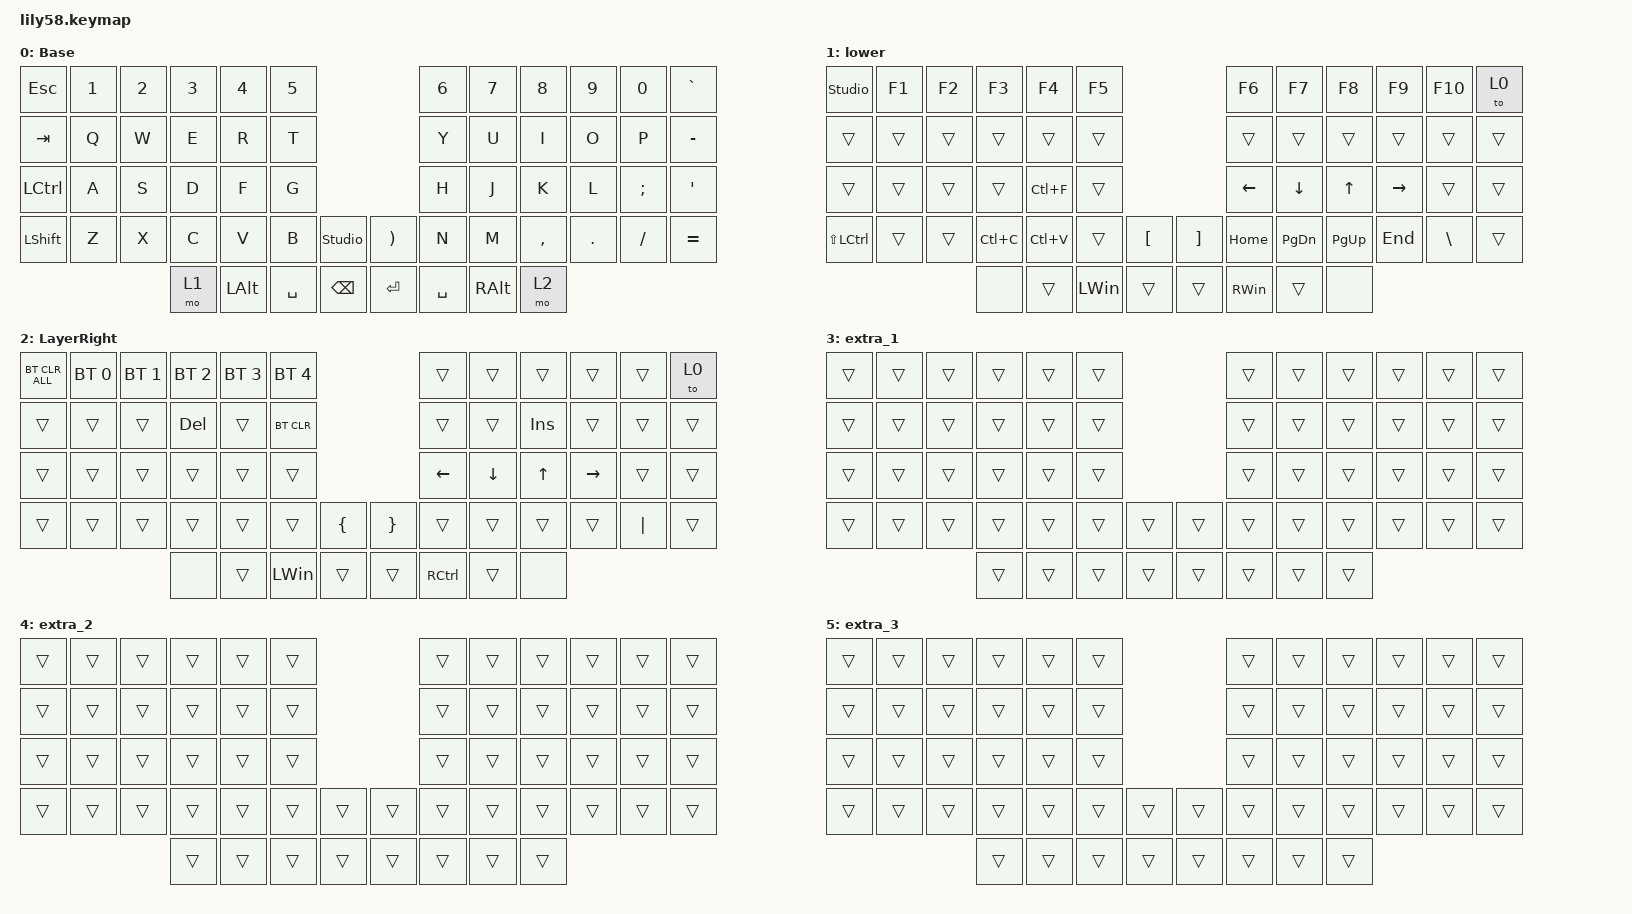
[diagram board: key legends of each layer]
/*
 * Copyright (c) 2020 The ZMK Contributors
 *
 * SPDX-License-Identifier: MIT
 */

#include <behaviors.dtsi>
#include <dt-bindings/zmk/bt.h>
#include <dt-bindings/zmk/keys.h>

/ {
    keymap {
        compatible = "zmk,keymap";

        default_layer {
            // ------------------------------------------------------------------------------------------------------------
            // |  ESC  |  1  |  2  |  3   |  4   |  5   |                   |  6   |  7    |  8    |  9   |   0   |   `   |
            // |  TAB  |  Q  |  W  |  E   |  R   |  T   |                   |  Y   |  U    |  I    |  O   |   P   |   -   |
            // |  CTRL |  A  |  S  |  D   |  F   |  G   |                   |  H   |  J    |  K    |  L   |   ;   |   '   |
            // | SHIFT |  Z  |  X  |  C   |  V   |  B   |   "["  |  |  "]"  |  N   |  M    |  ,    |  .   |   /   | SHIFT |
            //                     | ALT  | GUI  | LOWER|  SPACE |  | ENTER | RAISE| BSPC  | GUI   |

            display-name = "Base";
            bindings = <
&kp ESC           &kp N1  &kp N2  &kp N3  &kp N4        &kp N5                                              &kp N6     &kp N7         &kp N8     &kp N9   &kp N0    &kp GRAVE
&kp TAB           &kp Q   &kp W   &kp E   &kp R         &kp T                                               &kp Y      &kp U          &kp I      &kp O    &kp P     &kp MINUS
&kp LEFT_CONTROL  &kp A   &kp S   &kp D   &kp F         &kp G                                               &kp H      &kp J          &kp K      &kp L    &kp SEMI  &kp SQT
&kp LEFT_SHIFT    &kp Z   &kp X   &kp C   &kp V         &kp B      &studio_unlock    &kp RIGHT_PARENTHESIS  &kp N      &kp M          &kp COMMA  &kp DOT  &kp FSLH  &kp EQUAL
                                  &mo 1   &kp LEFT_ALT  &kp SPACE  &kp BACKSPACE     &kp RET                &kp SPACE  &kp RIGHT_ALT  &mo 2
            >;

            label = "Base";
        };

        raise_layer {
            // ------------------------------------------------------------------------------------------------------------
            // | BTCLR | BT1 | BT2 |  BT3 |  BT4 |  BT5 |                   |      |       |       |      |       |       |
            // |  F1   |  F2 |  F3 |  F4  |  F5  |  F6  |                   |  F7  |  F8   |  F9   |  F10 |  F11  |  F12  |
            // |   `   |  !  |  @  |  #   |  $   |  %   |                   |  ^   |  &    |  *    |  (   |   )   |   ~   |
            // |       |     |     |      |      |      |        |  |       |      |  _    |  +    |  {   |   }   |  "|"  |
            //                     |      |      |      |        |  |       |      |       |       |

            display-name = "lower";
            bindings = <
&studio_unlock  &kp F1  &kp F2  &kp F3     &kp F4     &kp F5                                               &kp F6          &kp F7          &kp F8        &kp F9     &kp F10        &to 0
&trans          &trans  &trans  &trans     &trans     &trans                                               &trans          &trans          &trans        &trans     &trans         &trans
&trans          &trans  &trans  &trans     &kp LC(F)  &trans                                               &kp LEFT_ARROW  &kp DOWN_ARROW  &kp UP_ARROW  &kp RIGHT  &trans         &trans
&kp LS(LCTRL)   &trans  &trans  &kp LC(C)  &kp LC(V)  &trans        &kp LEFT_BRACKET    &kp RIGHT_BRACKET  &kp HOME        &kp PAGE_DOWN   &kp PAGE_UP   &kp END    &kp BACKSLASH  &trans
                                &none      &trans     &kp LEFT_WIN  &trans              &trans             &kp RIGHT_WIN   &trans          &none
            >;

            label = "Raise";
        };

        lower_layer {
            // ------------------------------------------------------------------------------------------------------------
            // |       |     |     |      |      |      |                   |      |       |       |      |       |       |
            // |   `   |  1  |  2  |  3   |  4   |  5   |                   |  6   |   7   |   8   |  9   |   0   |       |
            // |   F1  |  F2 |  F3 |  F4  |  F5  |  F6  |                   |      |   <-  |   v   |  ^   |  ->   |       |
            // |   F7  |  F8 |  F9 |  F10 |  F11 |  F12 |        |  |       |  +   |   -   |   =   |  [   |   ]   |   \   |
            //                     |      |      |      |        |  |       |      |       |       |

            display-name = "LayerRight";
            bindings = <
&bt BT_CLR_ALL  &bt BT_SEL 0  &bt BT_SEL 1  &bt BT_SEL 2  &bt BT_SEL 3  &bt BT_SEL 4                                     &trans          &trans          &trans        &trans     &trans    &to 0
&trans          &trans        &trans        &kp DEL       &trans        &bt BT_CLR                                       &trans          &trans          &kp INS       &trans     &trans    &trans
&trans          &trans        &trans        &trans        &trans        &trans                                           &kp LEFT_ARROW  &kp DOWN_ARROW  &kp UP_ARROW  &kp RIGHT  &trans    &trans
&trans          &trans        &trans        &trans        &trans        &trans        &kp LEFT_BRACE    &kp RIGHT_BRACE  &trans          &trans          &trans        &trans     &kp PIPE  &trans
                                            &none         &trans        &kp LEFT_WIN  &trans            &trans           &kp RCTRL       &trans          &none
            >;

            label = "Lower";
        };

        extra_1 {
            bindings = <
&trans  &trans  &trans  &trans  &trans  &trans                    &trans  &trans  &trans  &trans  &trans  &trans
&trans  &trans  &trans  &trans  &trans  &trans                    &trans  &trans  &trans  &trans  &trans  &trans
&trans  &trans  &trans  &trans  &trans  &trans                    &trans  &trans  &trans  &trans  &trans  &trans
&trans  &trans  &trans  &trans  &trans  &trans  &trans    &trans  &trans  &trans  &trans  &trans  &trans  &trans
                        &trans  &trans  &trans  &trans    &trans  &trans  &trans  &trans
            >;
        };

        extra_2 {
            bindings = <
&trans  &trans  &trans  &trans  &trans  &trans                    &trans  &trans  &trans  &trans  &trans  &trans
&trans  &trans  &trans  &trans  &trans  &trans                    &trans  &trans  &trans  &trans  &trans  &trans
&trans  &trans  &trans  &trans  &trans  &trans                    &trans  &trans  &trans  &trans  &trans  &trans
&trans  &trans  &trans  &trans  &trans  &trans  &trans    &trans  &trans  &trans  &trans  &trans  &trans  &trans
                        &trans  &trans  &trans  &trans    &trans  &trans  &trans  &trans
            >;
        };

        extra_3 {
            bindings = <
&trans  &trans  &trans  &trans  &trans  &trans                    &trans  &trans  &trans  &trans  &trans  &trans
&trans  &trans  &trans  &trans  &trans  &trans                    &trans  &trans  &trans  &trans  &trans  &trans
&trans  &trans  &trans  &trans  &trans  &trans                    &trans  &trans  &trans  &trans  &trans  &trans
&trans  &trans  &trans  &trans  &trans  &trans  &trans    &trans  &trans  &trans  &trans  &trans  &trans  &trans
                        &trans  &trans  &trans  &trans    &trans  &trans  &trans  &trans
            >;
        };
    };
};
